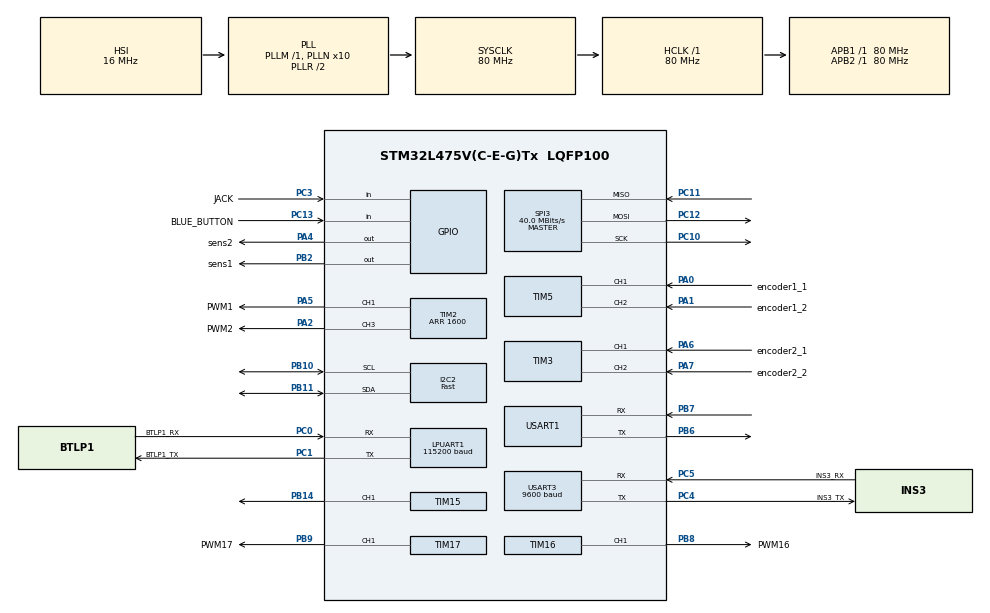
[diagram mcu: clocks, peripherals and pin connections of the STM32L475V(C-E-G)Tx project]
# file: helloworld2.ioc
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I2C2.I2C_Speed_Mode=I2C_Fast
I2C2.Timing=0x00F12981
LPUART1.BaudRate=115200
LPUART1.WordLength=UART_WORDLENGTH_8B
Mcu.Family=STM32L4
Mcu.Name=STM32L475V(C-E-G)Tx
Mcu.Package=LQFP100
NVIC.LPUART1_IRQn=true\:0\:0\:false\:false\:true\:true\:true\:true
NVIC.PriorityGroup=NVIC_PRIORITYGROUP_4
NVIC.TIM1_UP_TIM16_IRQn=true\:0\:0\:false\:false\:true\:true\:true\:true
NVIC.USART3_IRQn=true\:0\:0\:false\:false\:true\:true\:true\:true
PA0.GPIO_Label=encoder1_1
PA0.Signal=S_TIM5_CH1
PA1.GPIO_Label=encoder1_2
PA1.Signal=S_TIM5_CH2
PA13\ (JTMS-SWDIO).Mode=Trace_Asynchronous_SW
PA13\ (JTMS-SWDIO).Signal=SYS_JTMS-SWDIO
PA14\ (JTCK-SWCLK).Mode=Trace_Asynchronous_SW
PA14\ (JTCK-SWCLK).Signal=SYS_JTCK-SWCLK
PA2.GPIO_Label=PWM2
PA2.Signal=S_TIM2_CH3
PA4.GPIO_Label=sens2
PA4.Signal=GPIO_Output
PA5.GPIO_Label=PWM1
PA5.Signal=S_TIM2_CH1
PA6.GPIO_Label=encoder2_1
PA6.Signal=S_TIM3_CH1
PA7.GPIO_Label=encoder2_2
PA7.Signal=S_TIM3_CH2
PB10.Mode=I2C
PB10.Signal=I2C2_SCL
PB11.Mode=I2C
PB11.Signal=I2C2_SDA
PB14.Signal=S_TIM15_CH1
PB2.GPIO_Label=sens1
PB2.Signal=GPIO_Output
PB3\ (JTDO-TRACESWO).Mode=Trace_Asynchronous_SW
PB3\ (JTDO-TRACESWO).Signal=SYS_JTDO-SWO
PB6.GPIO_Speed=GPIO_SPEED_FREQ_HIGH
PB6.Mode=Asynchronous
PB6.Signal=USART1_TX
PB7.GPIO_Speed=GPIO_SPEED_FREQ_HIGH
PB7.Mode=Asynchronous
PB7.Signal=USART1_RX
PB8.GPIO_Label=PWM16
PB8.Signal=S_TIM16_CH1
PB9.GPIO_Label=PWM17
PB9.Signal=S_TIM17_CH1
PC0.GPIO_Label=BTLP1_RX
PC0.Mode=Asynchronous
PC0.Signal=LPUART1_RX
PC1.GPIO_Label=BTLP1_TX
PC1.Mode=Asynchronous
PC1.Signal=LPUART1_TX
PC10.Mode=Full_Duplex_Master
PC10.Signal=SPI3_SCK
PC11.Mode=Full_Duplex_Master
PC11.Signal=SPI3_MISO
PC12.Mode=Full_Duplex_Master
PC12.Signal=SPI3_MOSI
PC13.GPIO_Label=BLUE_BUTTON
PC13.Signal=GPIO_Input
PC3.GPIO_Label=JACK
PC3.Signal=GPIO_Input
PC4.GPIO_Label=INS3_TX
PC4.Mode=Asynchronous
PC4.Signal=USART3_TX
PC5.GPIO_Label=INS3_RX
PC5.Mode=Asynchronous
PC5.Signal=USART3_RX
ProjectManager.HeapSize=0x200
ProjectManager.StackSize=0x400
ProjectManager.TargetToolchain=STM32CubeIDE
RCC.ADCFreq_Value=64000000
RCC.AHBFreq_Value=80000000
RCC.APB1Freq_Value=80000000
RCC.APB1TimFreq_Value=80000000
RCC.APB2Freq_Value=80000000
RCC.APB2TimFreq_Value=80000000
RCC.CortexFreq_Value=80000000
RCC.HCLKFreq_Value=80000000
RCC.HSE_VALUE=8000000
RCC.HSI_VALUE=16000000
RCC.LSE_VALUE=32768
RCC.MSI_VALUE=4000000
RCC.PLLN=10
RCC.PLLSourceVirtual=RCC_PLLSOURCE_HSI
RCC.SYSCLKFreq_VALUE=80000000
RCC.SYSCLKSource=RCC_SYSCLKSOURCE_PLLCLK
RCC.USART1CLockSelection=RCC_USART1CLKSOURCE_HSI
RCC.USBFreq_Value=64000000
RCC.VCOOutputFreq_Value=160000000
SH.S_TIM15_CH1.0=TIM15_CH1,PWM Generation1 CH1
SH.S_TIM16_CH1.0=TIM16_CH1,PWM Generation1 CH1
SH.S_TIM17_CH1.0=TIM17_CH1,PWM Generation1 CH1
SH.S_TIM2_CH1.0=TIM2_CH1,PWM Generation1 CH1
SH.S_TIM2_CH3.0=TIM2_CH3,PWM Generation3 CH3
SH.S_TIM3_CH1.0=TIM3_CH1,Encoder_Interface
SH.S_TIM3_CH2.0=TIM3_CH2,Encoder_Interface
SH.S_TIM5_CH1.0=TIM5_CH1,Encoder_Interface
SH.S_TIM5_CH2.0=TIM5_CH2,Encoder_Interface
SPI3.CalculateBaudRate=40.0 MBits/s
SPI3.Direction=SPI_DIRECTION_2LINES
SPI3.Mode=SPI_MODE_MASTER
SPI3.VirtualType=VM_MASTER
TIM1.Period=100-1
TIM1.Prescaler=800-1
TIM15.Channel-PWM\ Generation1\ CH1=TIM_CHANNEL_1
TIM15.Period=1000-1
TIM15.Prescaler=8000-1
TIM16.AutoReloadPreload=TIM_AUTORELOAD_PRELOAD_ENABLE
TIM16.Channel=TIM_CHANNEL_1
TIM16.Period=64000
TIM16.Prescaler=24
TIM17.AutoReloadPreload=TIM_AUTORELOAD_PRELOAD_ENABLE
TIM17.Channel=TIM_CHANNEL_1
TIM17.Period=64000
TIM17.Prescaler=24
TIM2.Channel-PWM\ Generation1\ CH1=TIM_CHANNEL_1
TIM2.Channel-PWM\ Generation3\ CH3=TIM_CHANNEL_3
TIM2.Period=1600
TIM3.EncoderMode=TIM_ENCODERMODE_TI12
TIM3.IC1Filter=4
TIM3.IC2Filter=4
TIM5.AutoReloadPreload=TIM_AUTORELOAD_PRELOAD_ENABLE
TIM5.EncoderMode=TIM_ENCODERMODE_TI12
TIM5.IC1Filter=4
TIM5.IC2Filter=4
USART1.VirtualMode-Asynchronous=VM_ASYNC
USART3.AutoBaudRateEnableParam=UART_ADVFEATURE_AUTOBAUDRATE_DISABLE
USART3.BaudRate=9600
USART3.VirtualMode-Asynchronous=VM_ASYNC
VP_TIM16_VS_ClockSourceINT.Mode=Enable_Timer
VP_TIM17_VS_ClockSourceINT.Mode=Enable_Timer
VP_TIM1_VS_ClockSourceINT.Mode=Internal
board=custom

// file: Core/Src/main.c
/* USER CODE BEGIN Header */
/**
  ******************************************************************************
  * @file           : main.c
  * @brief          : Main program body
  ******************************************************************************
  * @attention
  *
  * Copyright (c) 2024 STMicroelectronics.
  * All rights reserved.
  *
  * This software is licensed under terms that can be found in the LICENSE file
  * in the root directory of this software component.
  * If no LICENSE file comes with this software, it is provided AS-IS.
  *
  ******************************************************************************
  */
/* USER CODE END Header */
#include "main.h"

/* USER CODE BEGIN Includes */
#include <stdio.h>
#include "iot01A/sensors.h"
#include <math.h>
#include "iot01A/pwm.h"
#include "iot01A/motor.h"
#include "robotic/carre.hpp"
#include <stdlib.h>  //exit
#include "robotic/pid.hpp"
#include "iot01A/led.h"
#include "iot01A/top.h"
/* USER CODE END Includes */

/* USER CODE BEGIN PM */

#define USE_FULL_ASSERT

/* USER CODE END PM */

I2C_HandleTypeDef hi2c2;

UART_HandleTypeDef hlpuart1;
UART_HandleTypeDef huart1;
UART_HandleTypeDef huart3;

SPI_HandleTypeDef hspi3;

TIM_HandleTypeDef htim1;
TIM_HandleTypeDef htim2;
TIM_HandleTypeDef htim3;
TIM_HandleTypeDef htim5;
TIM_HandleTypeDef htim15;
TIM_HandleTypeDef htim16;
TIM_HandleTypeDef htim17;

void SystemClock_Config(void);
static void MX_GPIO_Init(void);
static void MX_USART1_UART_Init(void);
static void MX_I2C2_Init(void);
static void MX_SPI3_Init(void);
static void MX_TIM3_Init(void);
static void MX_TIM5_Init(void);
static void MX_TIM15_Init(void);
static void MX_TIM1_Init(void);
static void MX_TIM2_Init(void);
static void MX_LPUART1_UART_Init(void);
static void MX_USART3_UART_Init(void);
static void MX_TIM16_Init(void);
static void MX_TIM17_Init(void);

/* USER CODE BEGIN 0 */

volatile int time_to_start =0;
// Callback: timer has rolled over
void HAL_TIM_PeriodElapsedCallback(TIM_HandleTypeDef *htim)
{
  // Check which version of the timer triggered this callback and toggle LED
  if (htim == &htim1 )
  {
	  time_to_start = 1;
  }
}

/* USER CODE END 0 */

int main(void)
{

  /* USER CODE BEGIN 1 */
	/*mise en sortie la plus rapide possible des signaux PWM*/
	HAL_GPIO_WritePin(PWM1_GPIO_Port, PWM1_Pin, GPIO_PIN_RESET);
	HAL_GPIO_WritePin(PWM2_GPIO_Port, PWM2_Pin, GPIO_PIN_RESET);
  /* USER CODE END 1 */

  /* MCU Configuration--------------------------------------------------------*/

  /* Reset of all peripherals, Initializes the Flash interface and the Systick. */
  HAL_Init();

  /* Configure the system clock */
  SystemClock_Config();

  /* Initialize all configured peripherals */
  MX_GPIO_Init();
  MX_USART1_UART_Init();
  MX_I2C2_Init();
  MX_SPI3_Init();
  MX_TIM3_Init();
  MX_TIM5_Init();
  MX_TIM15_Init();
  MX_TIM1_Init();
  MX_TIM2_Init();
  MX_LPUART1_UART_Init();
  MX_USART3_UART_Init();
  MX_TIM16_Init();
  MX_TIM17_Init();
  /* USER CODE BEGIN 2 */

  top_init_driver();

  // Start timer
  HAL_TIM_Base_Start_IT(&htim1);
  HAL_Delay(1);
  led_init();

  /* USER CODE END 2 */

  /* Infinite loop */
  /* USER CODE BEGIN WHILE */

  while (1)
  {
	  led_1(0.0);
	  while(! top_is_time_to_start()) {}

    /* USER CODE END WHILE */

    /* USER CODE BEGIN 3 */
	  //led_1(1);
	  top_in_loop();
	  time_to_start = 0;

  }
  /* USER CODE END 3 */
}

void SystemClock_Config(void)
{
  RCC_OscInitTypeDef RCC_OscInitStruct = {0};
  RCC_ClkInitTypeDef RCC_ClkInitStruct = {0};

  /** Configure the main internal regulator output voltage
  */
  if (HAL_PWREx_ControlVoltageScaling(PWR_REGULATOR_VOLTAGE_SCALE1) != HAL_OK)
  {
    Error_Handler();
  }

  /** Initializes the RCC Oscillators according to the specified parameters
  * in the RCC_OscInitTypeDef structure.
  */
  RCC_OscInitStruct.OscillatorType = RCC_OSCILLATORTYPE_HSI;
  RCC_OscInitStruct.HSIState = RCC_HSI_ON;
  RCC_OscInitStruct.HSICalibrationValue = RCC_HSICALIBRATION_DEFAULT;
  RCC_OscInitStruct.PLL.PLLState = RCC_PLL_ON;
  RCC_OscInitStruct.PLL.PLLSource = RCC_PLLSOURCE_HSI;
  RCC_OscInitStruct.PLL.PLLM = 1;
  RCC_OscInitStruct.PLL.PLLN = 10;
  RCC_OscInitStruct.PLL.PLLP = RCC_PLLP_DIV7;
  RCC_OscInitStruct.PLL.PLLQ = RCC_PLLQ_DIV2;
  RCC_OscInitStruct.PLL.PLLR = RCC_PLLR_DIV2;
  if (HAL_RCC_OscConfig(&RCC_OscInitStruct) != HAL_OK)
  {
    Error_Handler();
  }

  /** Initializes the CPU, AHB and APB buses clocks
  */
  RCC_ClkInitStruct.ClockType = RCC_CLOCKTYPE_HCLK|RCC_CLOCKTYPE_SYSCLK
                              |RCC_CLOCKTYPE_PCLK1|RCC_CLOCKTYPE_PCLK2;
  RCC_ClkInitStruct.SYSCLKSource = RCC_SYSCLKSOURCE_PLLCLK;
  RCC_ClkInitStruct.AHBCLKDivider = RCC_SYSCLK_DIV1;
  RCC_ClkInitStruct.APB1CLKDivider = RCC_HCLK_DIV1;
  RCC_ClkInitStruct.APB2CLKDivider = RCC_HCLK_DIV1;

  if (HAL_RCC_ClockConfig(&RCC_ClkInitStruct, FLASH_LATENCY_4) != HAL_OK)
  {
    Error_Handler();
  }
}

static void MX_I2C2_Init(void)
{

  hi2c2.Instance = I2C2;
  hi2c2.Init.Timing = 0x00F12981;
  hi2c2.Init.OwnAddress1 = 0;
  hi2c2.Init.AddressingMode = I2C_ADDRESSINGMODE_7BIT;
  hi2c2.Init.DualAddressMode = I2C_DUALADDRESS_DISABLE;
  hi2c2.Init.OwnAddress2 = 0;
  hi2c2.Init.OwnAddress2Masks = I2C_OA2_NOMASK;
  hi2c2.Init.GeneralCallMode = I2C_GENERALCALL_DISABLE;
  hi2c2.Init.NoStretchMode = I2C_NOSTRETCH_DISABLE;
  if (HAL_I2C_Init(&hi2c2) != HAL_OK)
  {
    Error_Handler();
  }

  /** Configure Analogue filter
  */
  if (HAL_I2CEx_ConfigAnalogFilter(&hi2c2, I2C_ANALOGFILTER_ENABLE) != HAL_OK)
  {
    Error_Handler();
  }

  /** Configure Digital filter
  */
  if (HAL_I2CEx_ConfigDigitalFilter(&hi2c2, 0) != HAL_OK)
  {
    Error_Handler();
  }

}

static void MX_LPUART1_UART_Init(void)
{

  hlpuart1.Instance = LPUART1;
  hlpuart1.Init.BaudRate = 115200;
  hlpuart1.Init.WordLength = UART_WORDLENGTH_8B;
  hlpuart1.Init.StopBits = UART_STOPBITS_1;
  hlpuart1.Init.Parity = UART_PARITY_NONE;
  hlpuart1.Init.Mode = UART_MODE_TX_RX;
  hlpuart1.Init.HwFlowCtl = UART_HWCONTROL_NONE;
  hlpuart1.Init.OneBitSampling = UART_ONE_BIT_SAMPLE_DISABLE;
  hlpuart1.AdvancedInit.AdvFeatureInit = UART_ADVFEATURE_NO_INIT;
  if (HAL_UART_Init(&hlpuart1) != HAL_OK)
  {
    Error_Handler();
  }

}

static void MX_USART1_UART_Init(void)
{

  huart1.Instance = USART1;
  huart1.Init.BaudRate = 115200;
  huart1.Init.WordLength = UART_WORDLENGTH_8B;
  huart1.Init.StopBits = UART_STOPBITS_1;
  huart1.Init.Parity = UART_PARITY_NONE;
  huart1.Init.Mode = UART_MODE_TX_RX;
  huart1.Init.HwFlowCtl = UART_HWCONTROL_NONE;
  huart1.Init.OverSampling = UART_OVERSAMPLING_16;
  huart1.Init.OneBitSampling = UART_ONE_BIT_SAMPLE_DISABLE;
  huart1.AdvancedInit.AdvFeatureInit = UART_ADVFEATURE_NO_INIT;
  if (HAL_UART_Init(&huart1) != HAL_OK)
  {
    Error_Handler();
  }

}

static void MX_USART3_UART_Init(void)
{

  huart3.Instance = USART3;
  huart3.Init.BaudRate = 9600;
  huart3.Init.WordLength = UART_WORDLENGTH_8B;
  huart3.Init.StopBits = UART_STOPBITS_1;
  huart3.Init.Parity = UART_PARITY_NONE;
  huart3.Init.Mode = UART_MODE_TX_RX;
  huart3.Init.HwFlowCtl = UART_HWCONTROL_NONE;
  huart3.Init.OverSampling = UART_OVERSAMPLING_16;
  huart3.Init.OneBitSampling = UART_ONE_BIT_SAMPLE_DISABLE;
  huart3.AdvancedInit.AdvFeatureInit = UART_ADVFEATURE_NO_INIT;
  if (HAL_UART_Init(&huart3) != HAL_OK)
  {
    Error_Handler();
  }

}

static void MX_SPI3_Init(void)
{

  /* SPI3 parameter configuration*/
  hspi3.Instance = SPI3;
  hspi3.Init.Mode = SPI_MODE_MASTER;
  hspi3.Init.Direction = SPI_DIRECTION_2LINES;
  hspi3.Init.DataSize = SPI_DATASIZE_4BIT;
  hspi3.Init.CLKPolarity = SPI_POLARITY_LOW;
  hspi3.Init.CLKPhase = SPI_PHASE_1EDGE;
  hspi3.Init.NSS = SPI_NSS_SOFT;
  hspi3.Init.BaudRatePrescaler = SPI_BAUDRATEPRESCALER_2;
  hspi3.Init.FirstBit = SPI_FIRSTBIT_MSB;
  hspi3.Init.TIMode = SPI_TIMODE_DISABLE;
  hspi3.Init.CRCCalculation = SPI_CRCCALCULATION_DISABLE;
  hspi3.Init.CRCPolynomial = 7;
  hspi3.Init.CRCLength = SPI_CRC_LENGTH_DATASIZE;
  hspi3.Init.NSSPMode = SPI_NSS_PULSE_ENABLE;
  if (HAL_SPI_Init(&hspi3) != HAL_OK)
  {
    Error_Handler();
  }

}

static void MX_TIM1_Init(void)
{

  TIM_ClockConfigTypeDef sClockSourceConfig = {0};
  TIM_MasterConfigTypeDef sMasterConfig = {0};

  htim1.Instance = TIM1;
  htim1.Init.Prescaler = 800-1;
  htim1.Init.CounterMode = TIM_COUNTERMODE_UP;
  htim1.Init.Period = 100-1;
  htim1.Init.ClockDivision = TIM_CLOCKDIVISION_DIV1;
  htim1.Init.RepetitionCounter = 0;
  htim1.Init.AutoReloadPreload = TIM_AUTORELOAD_PRELOAD_DISABLE;
  if (HAL_TIM_Base_Init(&htim1) != HAL_OK)
  {
    Error_Handler();
  }
  sClockSourceConfig.ClockSource = TIM_CLOCKSOURCE_INTERNAL;
  if (HAL_TIM_ConfigClockSource(&htim1, &sClockSourceConfig) != HAL_OK)
  {
    Error_Handler();
  }
  sMasterConfig.MasterOutputTrigger = TIM_TRGO_RESET;
  sMasterConfig.MasterOutputTrigger2 = TIM_TRGO2_RESET;
  sMasterConfig.MasterSlaveMode = TIM_MASTERSLAVEMODE_DISABLE;
  if (HAL_TIMEx_MasterConfigSynchronization(&htim1, &sMasterConfig) != HAL_OK)
  {
    Error_Handler();
  }

}

static void MX_TIM2_Init(void)
{

  TIM_MasterConfigTypeDef sMasterConfig = {0};
  TIM_OC_InitTypeDef sConfigOC = {0};

  htim2.Instance = TIM2;
  htim2.Init.Prescaler = 0;
  htim2.Init.CounterMode = TIM_COUNTERMODE_UP;
  htim2.Init.Period = 1600;
  htim2.Init.ClockDivision = TIM_CLOCKDIVISION_DIV1;
  htim2.Init.AutoReloadPreload = TIM_AUTORELOAD_PRELOAD_DISABLE;
  if (HAL_TIM_PWM_Init(&htim2) != HAL_OK)
  {
    Error_Handler();
  }
  sMasterConfig.MasterOutputTrigger = TIM_TRGO_RESET;
  sMasterConfig.MasterSlaveMode = TIM_MASTERSLAVEMODE_DISABLE;
  if (HAL_TIMEx_MasterConfigSynchronization(&htim2, &sMasterConfig) != HAL_OK)
  {
    Error_Handler();
  }
  sConfigOC.OCMode = TIM_OCMODE_PWM1;
  sConfigOC.Pulse = 0;
  sConfigOC.OCPolarity = TIM_OCPOLARITY_HIGH;
  sConfigOC.OCFastMode = TIM_OCFAST_DISABLE;
  if (HAL_TIM_PWM_ConfigChannel(&htim2, &sConfigOC, TIM_CHANNEL_1) != HAL_OK)
  {
    Error_Handler();
  }
  if (HAL_TIM_PWM_ConfigChannel(&htim2, &sConfigOC, TIM_CHANNEL_3) != HAL_OK)
  {
    Error_Handler();
  }
  HAL_TIM_MspPostInit(&htim2);

}

static void MX_TIM3_Init(void)
{

  TIM_Encoder_InitTypeDef sConfig = {0};
  TIM_MasterConfigTypeDef sMasterConfig = {0};

  htim3.Instance = TIM3;
  htim3.Init.Prescaler = 0;
  htim3.Init.CounterMode = TIM_COUNTERMODE_UP;
  htim3.Init.Period = 65535;
  htim3.Init.ClockDivision = TIM_CLOCKDIVISION_DIV1;
  htim3.Init.AutoReloadPreload = TIM_AUTORELOAD_PRELOAD_DISABLE;
  sConfig.EncoderMode = TIM_ENCODERMODE_TI12;
  sConfig.IC1Polarity = TIM_ICPOLARITY_RISING;
  sConfig.IC1Selection = TIM_ICSELECTION_DIRECTTI;
  sConfig.IC1Prescaler = TIM_ICPSC_DIV1;
  sConfig.IC1Filter = 4;
  sConfig.IC2Polarity = TIM_ICPOLARITY_RISING;
  sConfig.IC2Selection = TIM_ICSELECTION_DIRECTTI;
  sConfig.IC2Prescaler = TIM_ICPSC_DIV1;
  sConfig.IC2Filter = 4;
  if (HAL_TIM_Encoder_Init(&htim3, &sConfig) != HAL_OK)
  {
    Error_Handler();
  }
  sMasterConfig.MasterOutputTrigger = TIM_TRGO_RESET;
  sMasterConfig.MasterSlaveMode = TIM_MASTERSLAVEMODE_DISABLE;
  if (HAL_TIMEx_MasterConfigSynchronization(&htim3, &sMasterConfig) != HAL_OK)
  {
    Error_Handler();
  }

}

static void MX_TIM5_Init(void)
{

  TIM_Encoder_InitTypeDef sConfig = {0};
  TIM_MasterConfigTypeDef sMasterConfig = {0};

  htim5.Instance = TIM5;
  htim5.Init.Prescaler = 0;
  htim5.Init.CounterMode = TIM_COUNTERMODE_UP;
  htim5.Init.Period = 4294967295;
  htim5.Init.ClockDivision = TIM_CLOCKDIVISION_DIV1;
  htim5.Init.AutoReloadPreload = TIM_AUTORELOAD_PRELOAD_ENABLE;
  sConfig.EncoderMode = TIM_ENCODERMODE_TI12;
  sConfig.IC1Polarity = TIM_ICPOLARITY_RISING;
  sConfig.IC1Selection = TIM_ICSELECTION_DIRECTTI;
  sConfig.IC1Prescaler = TIM_ICPSC_DIV1;
  sConfig.IC1Filter = 4;
  sConfig.IC2Polarity = TIM_ICPOLARITY_RISING;
  sConfig.IC2Selection = TIM_ICSELECTION_DIRECTTI;
  sConfig.IC2Prescaler = TIM_ICPSC_DIV1;
  sConfig.IC2Filter = 4;
  if (HAL_TIM_Encoder_Init(&htim5, &sConfig) != HAL_OK)
  {
    Error_Handler();
  }
  sMasterConfig.MasterOutputTrigger = TIM_TRGO_RESET;
  sMasterConfig.MasterSlaveMode = TIM_MASTERSLAVEMODE_DISABLE;
  if (HAL_TIMEx_MasterConfigSynchronization(&htim5, &sMasterConfig) != HAL_OK)
  {
    Error_Handler();
  }

}

static void MX_TIM15_Init(void)
{

  TIM_MasterConfigTypeDef sMasterConfig = {0};
  TIM_OC_InitTypeDef sConfigOC = {0};
  TIM_BreakDeadTimeConfigTypeDef sBreakDeadTimeConfig = {0};

  htim15.Instance = TIM15;
  htim15.Init.Prescaler = 8000-1;
  htim15.Init.CounterMode = TIM_COUNTERMODE_UP;
  htim15.Init.Period = 1000-1;
  htim15.Init.ClockDivision = TIM_CLOCKDIVISION_DIV1;
  htim15.Init.RepetitionCounter = 0;
  htim15.Init.AutoReloadPreload = TIM_AUTORELOAD_PRELOAD_DISABLE;
  if (HAL_TIM_PWM_Init(&htim15) != HAL_OK)
  {
    Error_Handler();
  }
  sMasterConfig.MasterOutputTrigger = TIM_TRGO_RESET;
  sMasterConfig.MasterSlaveMode = TIM_MASTERSLAVEMODE_DISABLE;
  if (HAL_TIMEx_MasterConfigSynchronization(&htim15, &sMasterConfig) != HAL_OK)
  {
    Error_Handler();
  }
  sConfigOC.OCMode = TIM_OCMODE_PWM1;
  sConfigOC.Pulse = 0;
  sConfigOC.OCPolarity = TIM_OCPOLARITY_HIGH;
  sConfigOC.OCNPolarity = TIM_OCNPOLARITY_HIGH;
  sConfigOC.OCFastMode = TIM_OCFAST_DISABLE;
  sConfigOC.OCIdleState = TIM_OCIDLESTATE_RESET;
  sConfigOC.OCNIdleState = TIM_OCNIDLESTATE_RESET;
  if (HAL_TIM_PWM_ConfigChannel(&htim15, &sConfigOC, TIM_CHANNEL_1) != HAL_OK)
  {
    Error_Handler();
  }
  sBreakDeadTimeConfig.OffStateRunMode = TIM_OSSR_DISABLE;
  sBreakDeadTimeConfig.OffStateIDLEMode = TIM_OSSI_DISABLE;
  sBreakDeadTimeConfig.LockLevel = TIM_LOCKLEVEL_OFF;
  sBreakDeadTimeConfig.DeadTime = 0;
  sBreakDeadTimeConfig.BreakState = TIM_BREAK_DISABLE;
  sBreakDeadTimeConfig.BreakPolarity = TIM_BREAKPOLARITY_HIGH;
  sBreakDeadTimeConfig.AutomaticOutput = TIM_AUTOMATICOUTPUT_DISABLE;
  if (HAL_TIMEx_ConfigBreakDeadTime(&htim15, &sBreakDeadTimeConfig) != HAL_OK)
  {
    Error_Handler();
  }
  HAL_TIM_MspPostInit(&htim15);

}

static void MX_TIM16_Init(void)
{

  TIM_OC_InitTypeDef sConfigOC = {0};
  TIM_BreakDeadTimeConfigTypeDef sBreakDeadTimeConfig = {0};

  htim16.Instance = TIM16;
  htim16.Init.Prescaler = 24;
  htim16.Init.CounterMode = TIM_COUNTERMODE_UP;
  htim16.Init.Period = 64000;
  htim16.Init.ClockDivision = TIM_CLOCKDIVISION_DIV1;
  htim16.Init.RepetitionCounter = 0;
  htim16.Init.AutoReloadPreload = TIM_AUTORELOAD_PRELOAD_ENABLE;
  if (HAL_TIM_Base_Init(&htim16) != HAL_OK)
  {
    Error_Handler();
  }
  if (HAL_TIM_PWM_Init(&htim16) != HAL_OK)
  {
    Error_Handler();
  }
  sConfigOC.OCMode = TIM_OCMODE_PWM1;
  sConfigOC.Pulse = 0;
  sConfigOC.OCPolarity = TIM_OCPOLARITY_HIGH;
  sConfigOC.OCNPolarity = TIM_OCNPOLARITY_HIGH;
  sConfigOC.OCFastMode = TIM_OCFAST_DISABLE;
  sConfigOC.OCIdleState = TIM_OCIDLESTATE_RESET;
  sConfigOC.OCNIdleState = TIM_OCNIDLESTATE_RESET;
  if (HAL_TIM_PWM_ConfigChannel(&htim16, &sConfigOC, TIM_CHANNEL_1) != HAL_OK)
  {
    Error_Handler();
  }
  sBreakDeadTimeConfig.OffStateRunMode = TIM_OSSR_DISABLE;
  sBreakDeadTimeConfig.OffStateIDLEMode = TIM_OSSI_DISABLE;
  sBreakDeadTimeConfig.LockLevel = TIM_LOCKLEVEL_OFF;
  sBreakDeadTimeConfig.DeadTime = 0;
  sBreakDeadTimeConfig.BreakState = TIM_BREAK_DISABLE;
  sBreakDeadTimeConfig.BreakPolarity = TIM_BREAKPOLARITY_HIGH;
  sBreakDeadTimeConfig.AutomaticOutput = TIM_AUTOMATICOUTPUT_DISABLE;
  if (HAL_TIMEx_ConfigBreakDeadTime(&htim16, &sBreakDeadTimeConfig) != HAL_OK)
  {
    Error_Handler();
  }
  HAL_TIM_MspPostInit(&htim16);

}

static void MX_TIM17_Init(void)
{

  TIM_OC_InitTypeDef sConfigOC = {0};
  TIM_BreakDeadTimeConfigTypeDef sBreakDeadTimeConfig = {0};

  htim17.Instance = TIM17;
  htim17.Init.Prescaler = 24;
  htim17.Init.CounterMode = TIM_COUNTERMODE_UP;
  htim17.Init.Period = 64000;
  htim17.Init.ClockDivision = TIM_CLOCKDIVISION_DIV1;
  htim17.Init.RepetitionCounter = 0;
  htim17.Init.AutoReloadPreload = TIM_AUTORELOAD_PRELOAD_ENABLE;
  if (HAL_TIM_Base_Init(&htim17) != HAL_OK)
  {
    Error_Handler();
  }
  if (HAL_TIM_PWM_Init(&htim17) != HAL_OK)
  {
    Error_Handler();
  }
  sConfigOC.OCMode = TIM_OCMODE_PWM1;
  sConfigOC.Pulse = 0;
  sConfigOC.OCPolarity = TIM_OCPOLARITY_HIGH;
  sConfigOC.OCNPolarity = TIM_OCNPOLARITY_HIGH;
  sConfigOC.OCFastMode = TIM_OCFAST_DISABLE;
  sConfigOC.OCIdleState = TIM_OCIDLESTATE_RESET;
  sConfigOC.OCNIdleState = TIM_OCNIDLESTATE_RESET;
  if (HAL_TIM_PWM_ConfigChannel(&htim17, &sConfigOC, TIM_CHANNEL_1) != HAL_OK)
  {
    Error_Handler();
  }
  sBreakDeadTimeConfig.OffStateRunMode = TIM_OSSR_DISABLE;
  sBreakDeadTimeConfig.OffStateIDLEMode = TIM_OSSI_DISABLE;
  sBreakDeadTimeConfig.LockLevel = TIM_LOCKLEVEL_OFF;
  sBreakDeadTimeConfig.DeadTime = 0;
  sBreakDeadTimeConfig.BreakState = TIM_BREAK_DISABLE;
  sBreakDeadTimeConfig.BreakPolarity = TIM_BREAKPOLARITY_HIGH;
  sBreakDeadTimeConfig.AutomaticOutput = TIM_AUTOMATICOUTPUT_DISABLE;
  if (HAL_TIMEx_ConfigBreakDeadTime(&htim17, &sBreakDeadTimeConfig) != HAL_OK)
  {
    Error_Handler();
  }
  HAL_TIM_MspPostInit(&htim17);

}

static void MX_GPIO_Init(void)
{
  GPIO_InitTypeDef GPIO_InitStruct = {0};

  /* GPIO Ports Clock Enable */
  __HAL_RCC_GPIOC_CLK_ENABLE();
  __HAL_RCC_GPIOA_CLK_ENABLE();
  __HAL_RCC_GPIOB_CLK_ENABLE();

  /*Configure GPIO pin Output Level */
  HAL_GPIO_WritePin(sens2_GPIO_Port, sens2_Pin, GPIO_PIN_RESET);

  /*Configure GPIO pin Output Level */
  HAL_GPIO_WritePin(sens1_GPIO_Port, sens1_Pin, GPIO_PIN_RESET);

  /*Configure GPIO pins : BLUE_BUTTON_Pin JACK_Pin */
  GPIO_InitStruct.Pin = BLUE_BUTTON_Pin|JACK_Pin;
  GPIO_InitStruct.Mode = GPIO_MODE_INPUT;
  GPIO_InitStruct.Pull = GPIO_NOPULL;
  HAL_GPIO_Init(GPIOC, &GPIO_InitStruct);

  /*Configure GPIO pin : sens2_Pin */
  GPIO_InitStruct.Pin = sens2_Pin;
  GPIO_InitStruct.Mode = GPIO_MODE_OUTPUT_PP;
  GPIO_InitStruct.Pull = GPIO_NOPULL;
  GPIO_InitStruct.Speed = GPIO_SPEED_FREQ_LOW;
  HAL_GPIO_Init(sens2_GPIO_Port, &GPIO_InitStruct);

  /*Configure GPIO pin : sens1_Pin */
  GPIO_InitStruct.Pin = sens1_Pin;
  GPIO_InitStruct.Mode = GPIO_MODE_OUTPUT_PP;
  GPIO_InitStruct.Pull = GPIO_NOPULL;
  GPIO_InitStruct.Speed = GPIO_SPEED_FREQ_LOW;
  HAL_GPIO_Init(sens1_GPIO_Port, &GPIO_InitStruct);

}

void Error_Handler(void)
{
  __disable_irq();
  while (1)
  {
  }
}

#ifdef  USE_FULL_ASSERT
/**
  * @brief  Reports the name of the source file and the source line number
  *         where the assert_param error has occurred.
  * @param  file: pointer to the source file name
  * @param  line: assert_param error line source number
  * @retval None
  */
void assert_failed(uint8_t *file, uint32_t line)
{
  /* USER CODE BEGIN 6 */
  /* User can add his own implementation to report the file name and line number,
  printf("Wrong parameters value: file %s on line %d\r\n", file, line) */
  /* USER CODE END 6 */
}
#endif /* USE_FULL_ASSERT */
